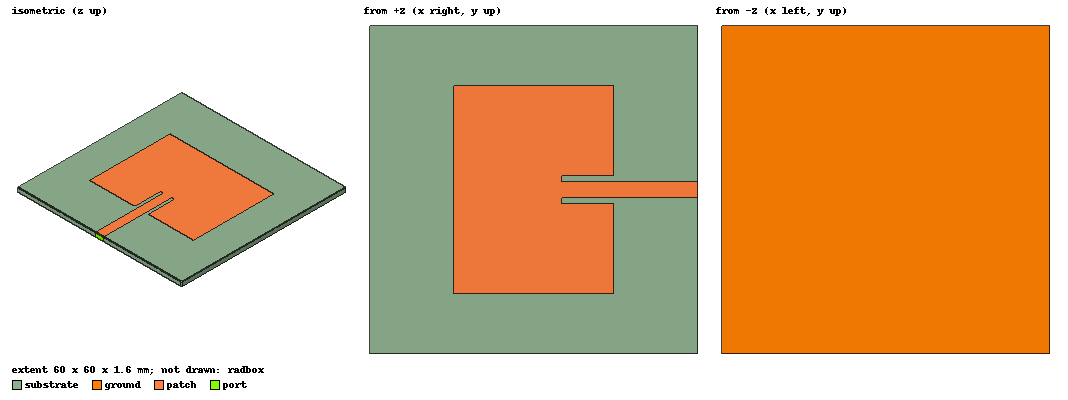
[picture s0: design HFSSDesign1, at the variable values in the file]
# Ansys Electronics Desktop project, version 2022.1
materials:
  vacuum: permittivity=1
  FR4_epoxy: permittivity=4.4 dielectric_loss_tangent=0.02

design HFSSDesign1 (HFSS, DrivenModal, model units mm)
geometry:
  ground = rectangle(corner=(-30mm, -30mm, 0mm), x_size=60mm, y_size=60mm)
  substrate [FR4_epoxy] = box(corner=(-30mm, -30mm, 0mm), size=(60mm, 60mm, 1.6mm))
  patch = rectangle(corner=((-29.4/2) mm, (-38/2) mm, 1.6mm), x_size=29.4mm, y_size=38mm)
  feedline = rectangle(corner=(0mm, -1.5mm, 1.6mm), x_size=30mm, y_size=3mm)
  cut = rectangle(corner=((29.4/2) mm, -2.5mm, 1.6mm), x_size=-9.5mm, y_size=5mm)
  patch.subtract(cut)
  patch.unite(feedline)
  port = rectangle(corner=(30mm, -1.5mm, 1.6mm), y_size=3mm, z_size=-1.6mm)
  radbox [vacuum] = box(corner=(-40mm, -40mm, -20mm), size=(80mm, 80mm, 40mm))
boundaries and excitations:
  PerfE1: Perfect E Objects=[patch, ground]
  Rad1: Radiation Objects=radbox
  1: Lumped Port Objects=port Modes{Mode1{IntLine{(30, 0, 0) -> (30, 0, 1.6)} CharImp=Zpi RenormImp=50ohm}} Impedance=50ohm
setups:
  Setup1: HfssDriven Frequency=2.4GHz MaxDeltaS=0.02 MaximumPasses=20 MinimumPasses=1 MinimumConvergedPasses=1 PercentRefinement=30 BasisOrder=1 PortAccuracy=2 DrivenSolverType="Direct Solver"
    sweep Sweep: 1GHz to 3GHz step 0.01GHz; Type=Fast SaveFields
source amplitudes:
  1:1: 1W 0deg
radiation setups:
  Infinite Sphere1: Infinite Sphere Theta=0deg..180deg step 10deg Phi=0deg..360deg step 10deg
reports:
  S Parameter Plot 1: dB(S(1,1)) vs Freq on Setup1 : Sweep
